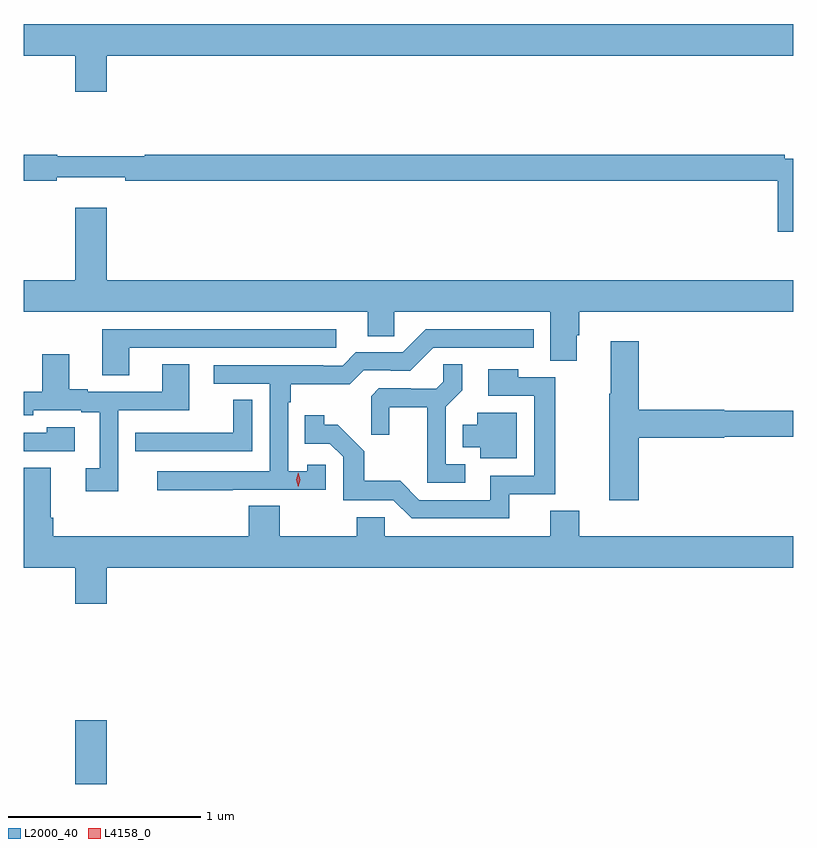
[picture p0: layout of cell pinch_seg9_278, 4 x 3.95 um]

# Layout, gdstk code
import gdstk
lib = gdstk.Library(unit=1e-6, precision=1e-09)
def R(c, l, rs):  # rectangles x0, y0, x1, y1
    for r in rs: c.add(gdstk.rectangle(r[:2], r[2:], *l))
def P(c, l, *ps):  # polygons
    for p in ps: c.add(gdstk.Polygon(p, *l))
L2000_40 = (2000, 40)
L4158_0 = (4158, 0)

pinch_seg9_278 = lib.new_cell('pinch_seg9_278')
R(pinch_seg9_278, L2000_40, [(404.768,1177.979,404.932,1178.311)])
P(pinch_seg9_278, L2000_40, [(404.932,1181.768),(408.501,1181.768),(408.501,1181.932),(404.501,1181.932),(404.501,1181.768),(404.768,1181.768),(404.768,1181.58),(404.932,1181.58)],
  [(408.501,1181.232),(408.458,1181.232),(408.458,1181.252),(405.13,1181.252),(405.13,1181.245),(404.675,1181.245),(404.675,1181.252),(404.501,1181.252),(404.501,1181.116),(404.672,1181.116),(404.672,1181.135),(405.028,1181.135),(405.028,1181.116),(408.422,1181.116),(408.422,1180.851),(408.501,1180.851)],
  [(407.377,1180.314),(407.39,1180.314),(407.39,1180.436),(408.501,1180.436),(408.501,1180.6),(404.932,1180.6),(404.932,1180.975),(404.768,1180.975),(404.768,1180.6),(404.501,1180.6),(404.501,1180.436),(406.289,1180.436),(406.289,1180.309),(406.428,1180.309),(406.428,1180.436),(407.237,1180.436),(407.237,1180.18),(407.377,1180.18)],
  [(405.587,1179.51),(406.071,1179.51),(406.071,1179.639),(405.975,1179.639),(405.975,1179.607),(405.876,1179.607),(405.876,1179.965),(405.889,1179.965),(405.889,1180.058),(406.196,1180.058),(406.269,1180.131),(406.408,1180.131),(406.408,1180.128),(406.509,1180.128),(406.629,1180.248),(407.152,1180.248),(407.152,1180.344),(406.59,1180.344),(406.47,1180.224),(406.227,1180.224),(406.158,1180.155),(406.058,1180.155),(406.058,1180.158),(405.489,1180.158),(405.489,1180.062),(405.78,1180.062),(405.78,1179.606),(405.195,1179.606),(405.195,1179.508),(405.587,1179.508)],
  [(405.049,1180.248),(406.126,1180.248),(406.126,1180.344),(404.909,1180.344),(404.909,1180.105),(405.049,1180.105)],
  [(407.699,1179.779),(408.144,1179.779),(408.144,1179.784),(408.501,1179.784),(408.501,1179.92),(408.144,1179.92),(408.144,1179.926),(407.699,1179.926),(407.699,1180.282),(407.552,1180.282),(407.552,1180.009),(407.545,1180.009),(407.545,1179.456),(407.699,1179.456)],
  [(404.991,1179.924),(405.361,1179.924),(405.361,1180.163),(405.221,1180.163),(405.221,1180.02),(404.833,1180.02),(404.833,1180.033),(404.737,1180.033),(404.737,1180.213),(404.597,1180.213),(404.597,1180.02),(404.501,1180.02),(404.501,1179.897),(404.55,1179.897),(404.55,1179.924),(404.798,1179.924),(404.798,1179.912),(404.894,1179.912),(404.894,1179.621),(404.823,1179.621),(404.823,1179.501),(404.991,1179.501)],
  [(406.795,1179.642),(406.695,1179.642),(406.695,1179.941),(406.781,1180.027),(406.781,1180.163),(406.683,1180.163),(406.683,1180.072),(406.646,1180.035),(406.512,1180.035),(406.512,1180.038),(406.347,1180.038),(406.306,1179.997),(406.306,1179.795),(406.4,1179.795),(406.4,1179.938),(406.598,1179.938),(406.598,1179.546),(406.795,1179.546)],
  [(407.024,1179.486),(407.263,1179.486),(407.263,1180.095),(407.073,1180.095),(407.073,1180.135),(406.917,1180.135),(406.917,1179.999),(407.154,1179.999),(407.154,1179.582),(406.925,1179.582),(406.925,1179.456),(406.557,1179.456),(406.459,1179.555),(406.27,1179.555),(406.27,1179.71),(406.132,1179.848),(406.062,1179.848),(406.062,1179.898),(405.961,1179.898),(405.961,1179.75),(406.092,1179.75),(406.161,1179.681),(406.161,1179.456),(406.422,1179.456),(406.518,1179.36),(407.024,1179.36)],
  [(405.687,1179.977),(405.589,1179.977),(405.589,1179.807),(405.193,1179.807),(405.193,1179.806),(405.081,1179.806),(405.081,1179.711),(405.687,1179.711)],
  [(407.065,1179.91),(406.859,1179.91),(406.859,1179.847),(406.784,1179.847),(406.784,1179.731),(406.874,1179.731),(406.874,1179.674),(407.065,1179.674)],
  [(404.764,1179.835),(404.619,1179.835),(404.619,1179.807),(404.501,1179.807),(404.501,1179.711),(404.764,1179.711)],
  [(404.932,1179.104),(408.501,1179.104),(408.501,1179.268),(407.39,1179.268),(407.39,1179.401),(407.237,1179.401),(407.237,1179.268),(406.377,1179.268),(406.377,1179.366),(406.231,1179.366),(406.231,1179.268),(405.831,1179.268),(405.831,1179.425),(405.671,1179.425),(405.671,1179.268),(404.654,1179.268),(404.654,1179.364),(404.641,1179.364),(404.641,1179.625),(404.501,1179.625),(404.501,1179.104),(404.768,1179.104),(404.768,1178.916),(404.932,1178.916)])
P(pinch_seg9_278, L4158_0, [(405.928,1179.525),(405.928,1179.525),(405.918,1179.561),(405.928,1179.597),(405.928,1179.597),(405.928,1179.597),(405.938,1179.561),(405.928,1179.525)])

lib.write_gds('pinch_seg9_278.gds')
